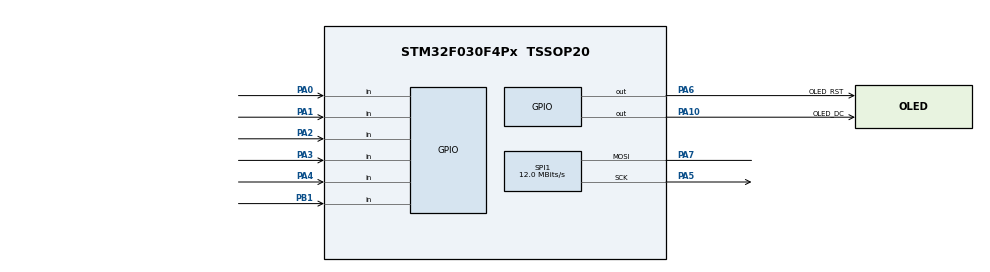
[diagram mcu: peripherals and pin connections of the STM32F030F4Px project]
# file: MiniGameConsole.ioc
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Dma.Request0=SPI1_TX
Dma.SPI1_TX.0.Direction=DMA_MEMORY_TO_PERIPH
Dma.SPI1_TX.0.Instance=DMA1_Channel3
Dma.SPI1_TX.0.MemDataAlignment=DMA_MDATAALIGN_BYTE
Dma.SPI1_TX.0.MemInc=DMA_MINC_ENABLE
Dma.SPI1_TX.0.Mode=DMA_NORMAL
Dma.SPI1_TX.0.PeriphDataAlignment=DMA_PDATAALIGN_BYTE
Dma.SPI1_TX.0.PeriphInc=DMA_PINC_DISABLE
Dma.SPI1_TX.0.Priority=DMA_PRIORITY_LOW
Mcu.Family=STM32F0
Mcu.Name=STM32F030F4Px
Mcu.Package=TSSOP20
NVIC.DMA1_Channel2_3_IRQn=true\:0\:0\:false\:false\:true\:false\:true\:true
PA0.GPIO_Mode=GPIO_MODE_INPUT
PA0.GPIO_PuPd=GPIO_PULLUP
PA0.Signal=GPIO_Input
PA1.GPIO_Mode=GPIO_MODE_INPUT
PA1.GPIO_PuPd=GPIO_PULLUP
PA1.Signal=GPIO_Input
PA10.GPIO_FMA10=__NULL
PA10.GPIO_Label=OLED_DC
PA10.GPIO_ModeDefaultOutputPP=GPIO_MODE_OUTPUT_PP
PA10.GPIO_PuPd=GPIO_NOPULL
PA10.GPIO_Speed=GPIO_SPEED_FREQ_HIGH
PA10.Signal=GPIO_Output
PA13.Mode=Serial_Wire
PA13.Signal=SYS_SWDIO
PA14.Mode=Serial_Wire
PA14.Signal=SYS_SWCLK
PA2.GPIO_Mode=GPIO_MODE_INPUT
PA2.GPIO_PuPd=GPIO_PULLUP
PA2.Signal=GPIO_Input
PA3.GPIO_Mode=GPIO_MODE_INPUT
PA3.GPIO_PuPd=GPIO_PULLUP
PA3.Signal=GPIO_Input
PA4.GPIO_Mode=GPIO_MODE_INPUT
PA4.GPIO_PuPd=GPIO_PULLUP
PA4.Signal=GPIO_Input
PA5.Mode=Simplex_Bidirectional_Master
PA5.Signal=SPI1_SCK
PA6.GPIO_Label=OLED_RST
PA6.GPIO_Speed=GPIO_SPEED_FREQ_HIGH
PA6.Signal=GPIO_Output
PA7.Mode=Simplex_Bidirectional_Master
PA7.Signal=SPI1_MOSI
PA9.Signal=S_TIM1_CH2
PB1.GPIO_Mode=GPIO_MODE_INPUT
PB1.GPIO_PuPd=GPIO_PULLUP
PB1.Signal=GPIO_Input
ProjectManager.HeapSize=0x200
ProjectManager.StackSize=0x400
ProjectManager.TargetToolchain=STM32CubeIDE
RCC.AHBFreq_Value=48000000
RCC.APB1Freq_Value=48000000
RCC.APB1TimFreq_Value=48000000
RCC.HCLKFreq_Value=48000000
RCC.PLLMUL=RCC_PLL_MUL12
RCC.SYSCLKFreq_VALUE=48000000
RCC.SYSCLKSource=RCC_SYSCLKSOURCE_PLLCLK
SH.S_TIM1_CH2.0=TIM1_CH2
SPI1.BaudRatePrescaler=SPI_BAUDRATEPRESCALER_4
SPI1.CalculateBaudRate=12.0 MBits/s
SPI1.DataSize=SPI_DATASIZE_8BIT
SPI1.Direction=SPI_DIRECTION_1LINE
SPI1.Mode=SPI_MODE_MASTER
SPI1.VirtualType=VM_MASTER
board=custom

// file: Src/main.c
/* USER CODE BEGIN Header */
/**
  ******************************************************************************
  * @file           : main.c
  * @brief          : Main program body
  ******************************************************************************
  * @attention
  *
  * Copyright (c) 2022 STMicroelectronics.
  * All rights reserved.
  *
  * This software is licensed under terms that can be found in the LICENSE file
  * in the root directory of this software component.
  * If no LICENSE file comes with this software, it is provided AS-IS.
  *
  ******************************************************************************
  */
/* USER CODE END Header */
#include "main.h"
#include "dma.h"
#include "spi.h"
#include "gpio.h"

/* USER CODE BEGIN Includes */
#include <string.h>
#include "ssd1306.h"
#include "gfx.h"
#include "assets.h"
#include "keypad.h"

/* USER CODE END Includes */

void SystemClock_Config(void);

int main(void)
{

  /* MCU Configuration--------------------------------------------------------*/

  /* Reset of all peripherals, Initializes the Flash interface and the Systick. */
  LL_APB1_GRP2_EnableClock(LL_APB1_GRP2_PERIPH_SYSCFG);
  LL_APB1_GRP1_EnableClock(LL_APB1_GRP1_PERIPH_PWR);

  /* SysTick_IRQn interrupt configuration */
  NVIC_SetPriority(SysTick_IRQn, 3);

  /* Configure the system clock */
  SystemClock_Config();

  /* Initialize all configured peripherals */
  MX_GPIO_Init();
  MX_DMA_Init();
  MX_SPI1_Init();
  /* USER CODE BEGIN 2 */

  // Delay for a while for waiting for debugger
  LL_mDelay(20);

  // Initialize Display
  ssd1306_init_device();

  uint8_t config_cmd[] = {
          0xE3, // NOP
          0x02, // Column Address: 0x02
          0x10, // Column Address: 0x02
          0xB7, // Page 7
  };

  ssd1306_command_buffer_t cmd[2];
  cmd[0].dc = 0;
  cmd[0].first_command = (uint8_t*)config_cmd;
  cmd[0].length = sizeof(config_cmd);
  cmd[0].next = &cmd[1];

  cmd[1].dc = 1;
  cmd[1].first_command = (uint8_t*)font8x8;
  cmd[1].length = 128;//sizeof(font8x8)-511;
  cmd[1].next = NULL;

  for (int p = 0; p < 8; ++p) {
      ssd1306_submit_command_buffer(&cmd[0]);
      // ssd1306_submit_command_buffer(&cmd[1]);
      ssd1306_wait_for_complete();
      config_cmd[3]--; // Page Decrement
      cmd[1].first_command += 128; // Next Page Data
  }

  LL_mDelay(500);

  int32_t pos_x[2] = {0, 16};
  int32_t pos_y[2] = {0, 30};
  int32_t vol_x[2] = {1, -1};
  int32_t vol_y[2] = {1, -1};

    gfx_sprite_info_t sprite[2];
    sprite[0].sprite_size_x = SPRITE_SIZE_16;
    sprite[0].sprite_size_y = SPRITE_SIZE_16;
    sprite[0].sprite_idx_x = 0;
    sprite[0].sprite_idx_y = 4;
    sprite[0].invert_color = 0;
    sprite[0].flip_x = 1;

    sprite[1].sprite_size_x = SPRITE_SIZE_16;
    sprite[1].sprite_size_y = SPRITE_SIZE_16;
    sprite[1].sprite_idx_x = 0;
    sprite[1].sprite_idx_y = 4;
    sprite[1].invert_color = 0;
    sprite[1].flip_x = 0;

    gfx_frame_description_t frame_desc;
    uint8_t background[16 * 8];

    struct {
        uint8_t x_offset :4;
        uint8_t y_offset :4;
        uint8_t x_flag :1;
        uint8_t y_flag :1;
    } motion = {0, 0};

    uint8_t frame_cnt = 0;

  /* USER CODE END 2 */

  /* Infinite loop */
  while (1)
  {

    /* USER CODE BEGIN 3 */

    // Demo: draw sprite
    memset(&frame_desc, 0, sizeof(frame_desc));
    frame_desc.sprite_table_size = SPRITE_TABLE_SIZE_128;
    frame_desc.sprite_table = (uint8_t*)font8x8;
    frame_desc.mask_table = (uint8_t*)font8x8;
    frame_desc.tile_map = (uint8_t*)background;
    frame_desc.tile_map_width = 16;
    frame_desc.tile_map_height = 8;
    frame_desc.tile_map_x_offset = motion.x_offset;
    frame_desc.tile_map_y_offset = motion.y_offset;

    if ((frame_cnt & 0x1Fu) == 0u) {
        if (!motion.x_flag) motion.x_offset += 1;
        else motion.x_offset -= 1;
    }

    if ((frame_cnt & 0xFu) == 0u) {
        if (!motion.y_flag) motion.y_offset += 1;
        else motion.y_offset -= 1;
    }

    frame_cnt ++;

    if (motion.x_offset == 0 && motion.x_flag != 0) motion.x_flag = !motion.x_flag;
    if (motion.x_offset == 0xF && motion.x_flag == 0) motion.x_flag = !motion.x_flag;
    if (motion.y_offset == 0 && motion.y_flag != 0) motion.y_flag = !motion.y_flag;
    if (motion.y_offset == 0xF && motion.y_flag == 0) motion.y_flag = !motion.y_flag;

    // Update key state
    update_key_state();

    // Clear screen
    memset(background, '*', sizeof(background));
    uint8_t *start_line = background + 2 * 16;

    // Print text
    for (int key = 0; key < 6; ++key) {
        if (get_key_pressed() & (1u << key)) {
            memcpy(start_line + 16 * key + 2, "key   pressed", 13); // NOLINT(bugprone-not-null-terminated-result)
            start_line[16 * key + 4 + 2] = '0' + key;
        }
    }

    gfx_begin_frame(&frame_desc);

    for (int i = 0; i < 2; ++i) {
        sprite[i].sprite_pos_x = SP_ENCODE_POS(pos_x[i]);
        sprite[i].sprite_pos_y = SP_ENCODE_POS(pos_y[i]);

        gfx_draw_sprite(sprite[i]);

        pos_x[i] += vol_x[i];
        pos_y[i] += vol_y[i];

        if (pos_x[i] < -8 || pos_x[i] + 8 > 128) {
            vol_x[i] = -vol_x[i];
        }

        if (pos_y[i] < -8 || pos_y[i] + 8 > 64) {
            vol_y[i] = -vol_y[i];
        }
    }

    gfx_end_frame();

    // 33ms per frame
    LL_mDelay(16);
  }
  /* USER CODE END 3 */
}

void SystemClock_Config(void)
{
  LL_FLASH_SetLatency(LL_FLASH_LATENCY_1);
  while(LL_FLASH_GetLatency() != LL_FLASH_LATENCY_1)
  {
  }
  LL_RCC_HSI_Enable();

   /* Wait till HSI is ready */
  while(LL_RCC_HSI_IsReady() != 1)
  {

  }
  LL_RCC_HSI_SetCalibTrimming(16);
  LL_RCC_PLL_ConfigDomain_SYS(LL_RCC_PLLSOURCE_HSI_DIV_2, LL_RCC_PLL_MUL_12);
  LL_RCC_PLL_Enable();

   /* Wait till PLL is ready */
  while(LL_RCC_PLL_IsReady() != 1)
  {

  }
  LL_RCC_SetAHBPrescaler(LL_RCC_SYSCLK_DIV_1);
  LL_RCC_SetAPB1Prescaler(LL_RCC_APB1_DIV_1);
  LL_RCC_SetSysClkSource(LL_RCC_SYS_CLKSOURCE_PLL);

   /* Wait till System clock is ready */
  while(LL_RCC_GetSysClkSource() != LL_RCC_SYS_CLKSOURCE_STATUS_PLL)
  {

  }
  LL_Init1msTick(48000000);
  LL_SetSystemCoreClock(48000000);
}

void Error_Handler(void)
{
  __disable_irq();
  while (1)
  {
  }
}
